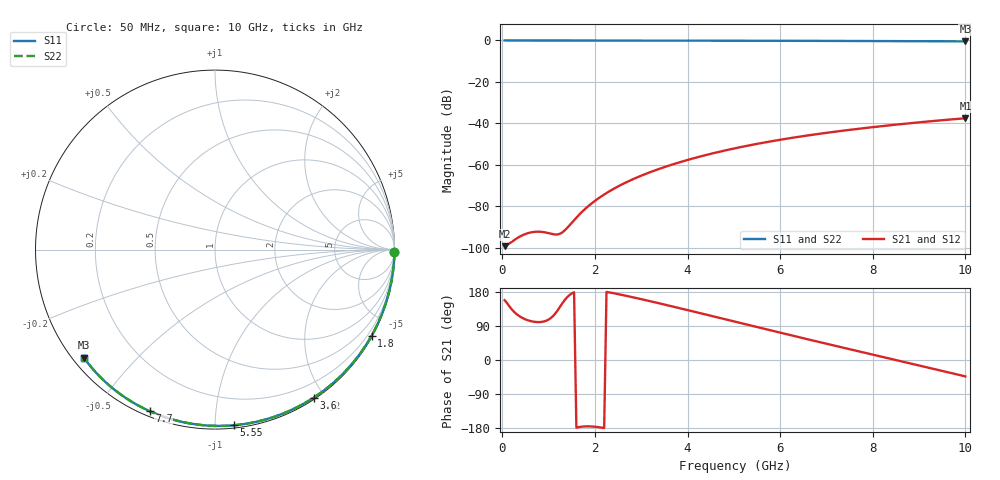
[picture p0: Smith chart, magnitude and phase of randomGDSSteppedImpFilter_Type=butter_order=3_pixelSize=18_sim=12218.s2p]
! freq	dB(S11)	phase(S11)	dB(S12)	phase(S12)
!  dB(S21)	phase(S21)	dB(S22)	phase(S22)
!S-par simulation data
#  GHz  S  DB  R 50
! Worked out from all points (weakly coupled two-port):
!   200 points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, 50 MHz to 10 GHz, reference 50 ohm
!   highest |S21| = -37.57 dB at 10 GHz (marker M1); lowest = -99.3 dB at 50 MHz (marker M2)
!   lowest |S11| = -0.5 dB at 10 GHz (marker M3), VSWR 36.55, Z = 1.54 - j17.9 ohm
!   |S11| at or under -10 dB: nowhere
!   |S22| runs from -0.5 to 0.0 dB; largest |S21 - S12| = 0
!   S11 on the Smith chart (normalised r, x): 50 MHz: open; 1.8 GHz: 0.03, -3.89; 3.6 GHz: 0.02, -1.87; 5.55 GHz: 0.02, -1.11; 7.7 GHz: 0.02, -0.67; 10 GHz: 0.03, -0.36
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0.05  -0.00 -0.8  -99.34 157.7  -99.34 157.7  -0.00 -0.8
0.45  -0.01 -7.3  -93.91 110.0  -93.91 110.0  -0.01 -7.3
0.9  -0.02 -14.6  -92.57 101.7  -92.57 101.7  -0.02 -14.6
1.75  -0.04 -28.0  -82.15 -175.4  -82.15 -175.4  -0.04 -28.0
1.8  -0.04 -28.8  -81.12 -175.1  -81.12 -175.1  -0.04 -28.8
1.85  -0.04 -29.6  -80.15 -175.1  -80.15 -175.1  -0.04 -29.6
2.15  -0.04 -34.3  -75.10 -178.4  -75.10 -178.4  -0.04 -34.3
2.35  -0.05 -37.4  -72.33 177.4  -72.33 177.4  -0.05 -37.4
2.55  -0.05 -40.5  -69.90 172.6  -69.90 172.6  -0.05 -40.5
2.95  -0.06 -46.6  -65.76 162.0  -65.76 162.0  -0.06 -46.6
3.4  -0.07 -53.3  -61.92 149.2  -61.92 149.2  -0.07 -53.3
3.6  -0.08 -56.3  -60.41 143.4  -60.41 143.4  -0.08 -56.3
3.9  -0.08 -60.7  -58.35 134.7  -58.35 134.7  -0.08 -60.7
4.3  -0.09 -66.5  -55.88 122.8  -55.88 122.8  -0.09 -66.5
5.05  -0.12 -77.1  -51.95 100.5  -51.95 100.5  -0.12 -77.1
5.55  -0.14 -83.9  -49.73 85.6  -49.73 85.6  -0.14 -83.9
6.1  -0.16 -91.3  -47.58 69.2  -47.58 69.2  -0.16 -91.3
6.7  -0.19 -99.2  -45.53 51.6  -45.53 51.6  -0.19 -99.2
7.7  -0.26 -112.0  -42.63 22.8  -42.63 22.8  -0.26 -112.0
8.35  -0.31 -120.2  -41.01 4.3  -41.01 4.3  -0.31 -120.2
9.2  -0.39 -130.7  -39.11 -19.9  -39.11 -19.9  -0.39 -130.7
10  -0.48 -140.6  -37.57 -43.4  -37.57 -43.4  -0.48 -140.5
